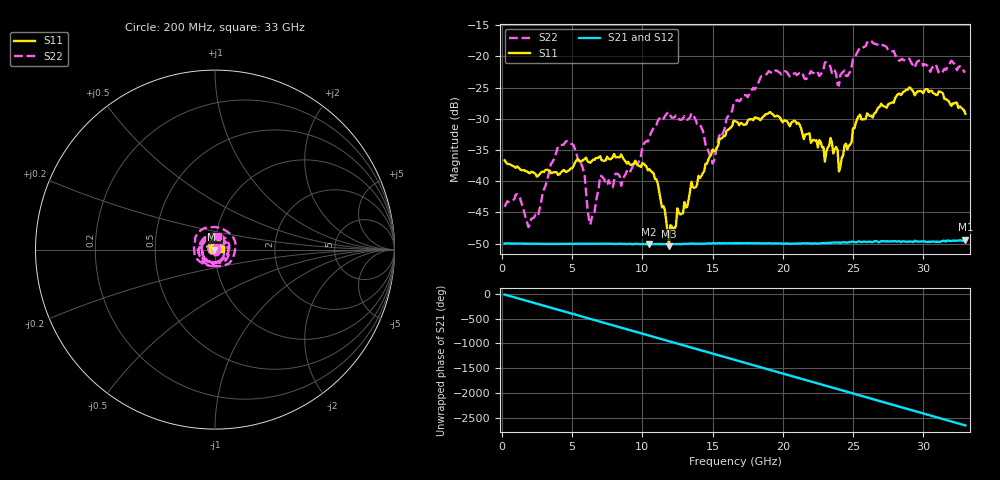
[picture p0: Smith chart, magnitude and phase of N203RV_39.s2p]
# GHZ S RI R 50
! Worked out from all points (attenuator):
!   329 points, 200 MHz to 33 GHz, reference 50 ohm
!   highest |S21| = -49.39 dB at 33 GHz (marker M1); lowest = -50.1 dB at 10.5 GHz (marker M2)
!   lowest |S11| = -50.4 dB at 11.9 GHz (marker M3), VSWR 1.01, Z = 49.7 + j0.0268 ohm
!   |S11| at or under -10 dB: start of sweep to end of sweep
!   |S22| runs from -47.4 to -17.4 dB; largest |S21 - S12| = 7.2e-05
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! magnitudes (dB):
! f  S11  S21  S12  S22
! 200 MHz  -36.7  -50.0  -50.0  -44.1
! 1.1 GHz  -37.6  -50.0  -50.0  -42.1
! 1.9 GHz  -38.6  -50.0  -50.0  -47.4
! 4 GHz  -39.0  -50.1  -50.0  -34.4
! 5.7 GHz  -36.7  -50.0  -50.0  -37.4
! 6.3 GHz  -37.1  -50.0  -50.0  -47.0
! 7 GHz  -36.0  -50.0  -50.0  -39.1
! 8.5 GHz  -35.7  -50.0  -50.0  -40.7
! 10.5 GHz  -38.1  -50.1  -50.1  -33.0
! 11.2 GHz  -41.6  -50.1  -50.1  -30.0
! 11.9 GHz  -50.4  -50.1  -50.1  -28.9
! 13.6 GHz  -40.9  -50.0  -50.0  -29.3
! 15 GHz  -34.9  -49.9  -49.9  -37.2
! 16.6 GHz  -30.4  -49.9  -49.9  -27.2
! 22.1 GHz  -33.5  -50.0  -49.9  -22.6
! 23 GHz  -36.9  -49.9  -49.9  -21.0
! 23.4 GHz  -33.1  -49.9  -49.8  -21.8
! 24 GHz  -38.4  -49.8  -49.9  -24.7
! 25.4 GHz  -29.6  -49.6  -49.7  -19.0
! 27.6 GHz  -27.6  -49.6  -49.6  -19.1
! 30.3 GHz  -25.3  -49.8  -49.7  -21.5
! 33 GHz  -29.2  -49.4  -49.4  -22.5
